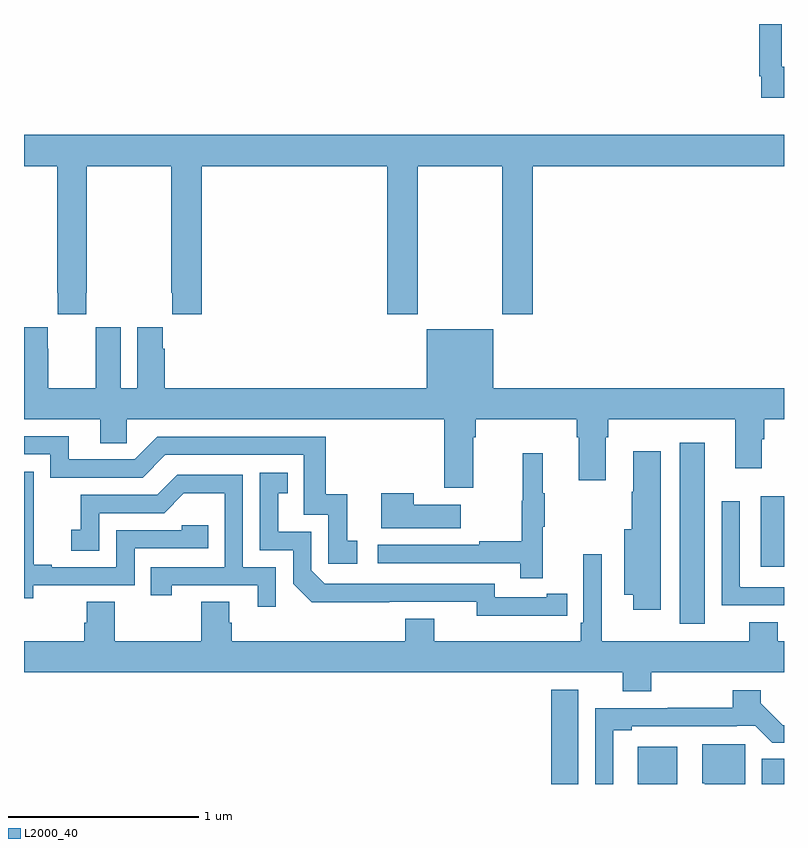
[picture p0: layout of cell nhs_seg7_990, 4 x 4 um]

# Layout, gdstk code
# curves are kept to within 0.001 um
import gdstk
lib = gdstk.Library(unit=1e-6, precision=1e-09)
def R(c, l, rs):  # rectangles x0, y0, x1, y1
    for r in rs: c.add(gdstk.rectangle(r[:2], r[2:], *l))
def P(c, l, *ps):  # polygons
    for p in ps: c.add(gdstk.Polygon(p, *l))
L2000_40 = (2000, 40)

nhs_seg7_990 = lib.new_cell('nhs_seg7_990')
R(nhs_seg7_990, L2000_40, [(185.774,1028,185.917,1028.497), (186.23,1028,186.439,1028.197), (186.884,1028,187,1028.132), (186.452,1028.844,186.583,1029.796), (186.878,1029.143,187,1029.514)])
P(nhs_seg7_990, L2000_40, [(187,1031.774),(186.987,1031.774),(186.987,1032),(186.871,1032),(186.871,1031.725),(186.879,1031.725),(186.879,1031.613),(187,1031.613)],
  [(183.327,1030.585),(183.33,1030.585),(183.33,1031.252),(183.775,1031.252),(183.775,1030.585),(183.781,1030.585),(183.781,1030.473),(183.935,1030.473),(183.935,1031.252),(184.913,1031.252),(184.913,1030.473),(185.073,1030.473),(185.073,1031.252),(185.518,1031.252),(185.518,1030.473),(185.678,1030.473),(185.678,1031.252),(187,1031.252),(187,1031.416),(183,1031.416),(183,1031.252),(183.175,1031.252),(183.175,1030.585),(183.177,1030.585),(183.177,1030.473),(183.327,1030.473)],
  [(185.47,1030.393),(185.12,1030.393),(185.12,1030.084),(183.74,1030.084),(183.74,1030.292),(183.73,1030.292),(183.73,1030.405),(183.596,1030.405),(183.596,1030.084),(183.508,1030.084),(183.508,1030.405),(183.378,1030.405),(183.378,1030.292),(183.377,1030.292),(183.377,1030.084),(183.127,1030.084),(183.127,1030.292),(183.126,1030.292),(183.126,1030.405),(183,1030.405),(183,1029.92),(183.401,1029.92),(183.401,1029.793),(183.54,1029.793),(183.54,1029.92),(185.213,1029.92),(185.213,1029.558),(185.365,1029.558),(185.365,1029.824),(185.378,1029.824),(185.378,1029.92),(185.909,1029.92),(185.909,1029.824),(185.921,1029.824),(185.921,1029.6),(186.061,1029.6),(186.061,1029.824),(186.074,1029.824),(186.074,1029.92),(186.743,1029.92),(186.743,1029.663),(186.883,1029.663),(186.883,1029.814),(186.896,1029.814),(186.896,1029.92),(187,1029.92),(187,1030.084),(185.47,1030.084)],
  [(184.753,1029.279),(184.7,1029.279),(184.7,1029.526),(184.589,1029.526),(184.589,1029.828),(183.702,1029.828),(183.582,1029.708),(183.235,1029.708),(183.235,1029.831),(183,1029.831),(183,1029.735),(183.138,1029.735),(183.138,1029.612),(183.624,1029.612),(183.744,1029.732),(184.473,1029.732),(184.473,1029.417),(184.602,1029.417),(184.602,1029.159),(184.753,1029.159)],
  [(186.352,1029.751),(186.206,1029.751),(186.206,1029.537),(186.199,1029.537),(186.199,1029.34),(186.158,1029.34),(186.158,1028.996),(186.206,1028.996),(186.206,1028.916),(186.352,1028.916)],
  [(185.729,1029.355),(185.74,1029.355),(185.74,1029.529),(185.729,1029.529),(185.729,1029.742),(185.626,1029.742),(185.626,1029.492),(185.619,1029.492),(185.619,1029.278),(185.395,1029.278),(185.395,1029.258),(184.863,1029.258),(184.863,1029.162),(185.611,1029.162),(185.611,1029.084),(185.729,1029.084)],
  [(183.048,1029.045),(183.582,1029.045),(183.582,1029.24),(183.971,1029.24),(183.971,1029.363),(183.831,1029.363),(183.831,1029.336),(183.486,1029.336),(183.486,1029.141),(183.145,1029.141),(183.145,1029.154),(183.05,1029.154),(183.05,1029.437),(183.051,1029.437),(183.051,1029.643),(183,1029.643),(183,1028.977),(183.048,1028.977)],
  [(185.75,1028.886),(185.858,1028.886),(185.858,1029.002),(185.75,1029.002),(185.75,1028.982),(185.478,1028.982),(185.478,1029.054),(184.584,1029.054),(184.512,1029.126),(184.512,1029.327),(184.339,1029.327),(184.339,1029.531),(184.388,1029.531),(184.388,1029.637),(184.242,1029.637),(184.242,1029.231),(184.416,1029.231),(184.416,1029.054),(184.514,1028.957),(185.382,1028.958),(185.382,1028.885)],
  [(184.326,1029.141),(184.152,1029.141),(184.152,1029.627),(183.806,1029.627),(183.701,1029.522),(183.298,1029.522),(183.298,1029.337),(183.249,1029.337),(183.249,1029.228),(183.396,1029.228),(183.396,1029.426),(183.738,1029.426),(183.842,1029.53),(184.056,1029.53),(184.056,1029.141),(183.667,1029.141),(183.667,1028.994),(183.778,1028.994),(183.778,1029.045),(184.229,1029.045),(184.229,1028.934),(184.326,1028.934)],
  [(185.299,1029.469),(185.051,1029.469),(185.051,1029.529),(184.88,1029.529),(184.88,1029.347),(185.299,1029.347)],
  [(187,1029.036),(186.769,1029.036),(186.769,1029.037),(186.768,1029.037),(186.768,1029.487),(186.672,1029.487),(186.672,1028.94),(187,1028.94)],
  [(186.3,1028.588),(187,1028.588),(187,1028.752),(186.966,1028.752),(186.966,1028.851),(186.818,1028.851),(186.818,1028.752),(186.04,1028.752),(186.04,1029.208),(185.943,1029.208),(185.943,1028.848),(185.93,1028.848),(185.93,1028.752),(185.158,1028.752),(185.158,1028.869),(185.006,1028.869),(185.006,1028.752),(184.094,1028.752),(184.094,1028.85),(184.081,1028.85),(184.081,1028.96),(183.934,1028.96),(183.934,1028.752),(183.477,1028.752),(183.477,1028.96),(183.329,1028.96),(183.329,1028.85),(183.317,1028.85),(183.317,1028.752),(183,1028.752),(183,1028.588),(186.152,1028.588),(186.152,1028.489),(186.3,1028.489)],
  [(186.102,1028.284),(186.199,1028.284),(186.199,1028.304),(186.752,1028.304),(186.752,1028.307),(186.848,1028.307),(186.938,1028.217),(187,1028.217),(187,1028.31),(186.993,1028.31),(186.877,1028.426),(186.877,1028.494),(186.73,1028.494),(186.73,1028.402),(186.388,1028.402),(186.388,1028.4),(186.006,1028.4),(186.006,1028),(186.102,1028)],
  [(186.796,1028.209),(186.569,1028.209),(186.569,1028.004),(186.584,1028.004),(186.584,1028),(186.796,1028)])

lib.write_gds('nhs_seg7_990.gds')
